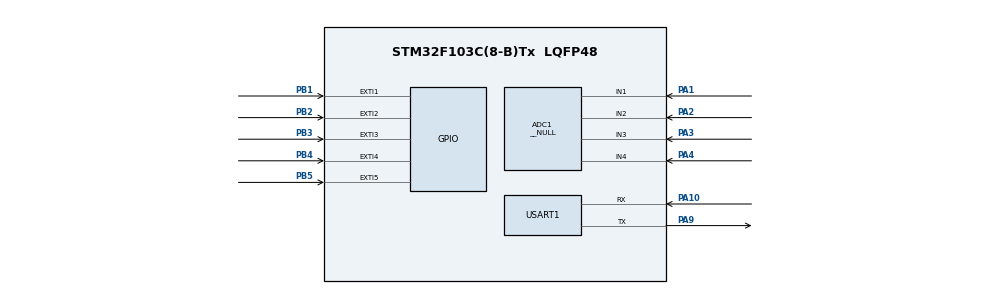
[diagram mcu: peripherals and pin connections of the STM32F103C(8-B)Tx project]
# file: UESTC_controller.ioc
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ADC1.Channel-0\#ChannelRegularConversion=ADC_CHANNEL_1
ADC1.Channel-1\#ChannelRegularConversion=ADC_CHANNEL_2
ADC1.Channel-4\#ChannelRegularConversion=ADC_CHANNEL_3
ADC1.Channel-5\#ChannelRegularConversion=ADC_CHANNEL_4
ADC1.ExternalTrigConv=ADC_EXTERNALTRIGCONV_T3_TRGO
ADC1.Mode=__NULL
ADC1.NbrOfConversion=4
ADC1.NbrOfConversionFlag=1
ADC1.Rank-0\#ChannelRegularConversion=1
ADC1.Rank-1\#ChannelRegularConversion=2
ADC1.Rank-4\#ChannelRegularConversion=3
ADC1.Rank-5\#ChannelRegularConversion=4
ADC1.SamplingTime-0\#ChannelRegularConversion=ADC_SAMPLETIME_71CYCLES_5
ADC1.SamplingTime-1\#ChannelRegularConversion=ADC_SAMPLETIME_71CYCLES_5
ADC1.SamplingTime-4\#ChannelRegularConversion=ADC_SAMPLETIME_71CYCLES_5
ADC1.SamplingTime-5\#ChannelRegularConversion=ADC_SAMPLETIME_71CYCLES_5
ADC1.master=1
Dma.ADC1.0.Direction=DMA_PERIPH_TO_MEMORY
Dma.ADC1.0.Instance=DMA1_Channel1
Dma.ADC1.0.MemDataAlignment=DMA_MDATAALIGN_HALFWORD
Dma.ADC1.0.MemInc=DMA_MINC_ENABLE
Dma.ADC1.0.Mode=DMA_CIRCULAR
Dma.ADC1.0.PeriphDataAlignment=DMA_PDATAALIGN_HALFWORD
Dma.ADC1.0.PeriphInc=DMA_PINC_DISABLE
Dma.ADC1.0.Priority=DMA_PRIORITY_LOW
Dma.Request0=ADC1
Mcu.Family=STM32F1
Mcu.Name=STM32F103C(8-B)Tx
Mcu.Package=LQFP48
NVIC.ADC1_2_IRQn=true\:3\:0\:true\:false\:true\:true\:true\:true
NVIC.DMA1_Channel1_IRQn=true\:0\:0\:false\:false\:true\:false\:true\:true
NVIC.EXTI1_IRQn=true\:2\:0\:true\:false\:true\:true\:true\:true
NVIC.EXTI2_IRQn=true\:2\:0\:true\:false\:true\:true\:true\:true
NVIC.EXTI3_IRQn=true\:2\:0\:true\:false\:true\:true\:true\:true
NVIC.EXTI4_IRQn=true\:2\:0\:true\:false\:true\:true\:true\:true
NVIC.EXTI9_5_IRQn=true\:2\:0\:true\:false\:true\:true\:true\:true
NVIC.PriorityGroup=NVIC_PRIORITYGROUP_4
NVIC.TIM4_IRQn=true\:1\:0\:true\:false\:true\:true\:true\:true
NVIC.USART1_IRQn=true\:0\:0\:false\:false\:true\:true\:true\:true
PA1.Signal=ADCx_IN1
PA10.Mode=Asynchronous
PA10.Signal=USART1_RX
PA13.Mode=Serial_Wire
PA13.Signal=SYS_JTMS-SWDIO
PA14.Mode=Serial_Wire
PA14.Signal=SYS_JTCK-SWCLK
PA2.Signal=ADCx_IN2
PA3.Signal=ADCx_IN3
PA4.Signal=ADCx_IN4
PA9.Mode=Asynchronous
PA9.Signal=USART1_TX
PB1.GPIO_ModeDefaultEXTI=GPIO_MODE_IT_FALLING
PB1.Signal=GPXTI1
PB2.GPIO_ModeDefaultEXTI=GPIO_MODE_IT_FALLING
PB2.Signal=GPXTI2
PB3.GPIO_ModeDefaultEXTI=GPIO_MODE_IT_FALLING
PB3.Signal=GPXTI3
PB4.GPIO_ModeDefaultEXTI=GPIO_MODE_IT_FALLING
PB4.Signal=GPXTI4
PB5.GPIO_ModeDefaultEXTI=GPIO_MODE_IT_FALLING
PB5.Signal=GPXTI5
PD0-OSC_IN.Mode=HSE-External-Oscillator
PD0-OSC_IN.Signal=RCC_OSC_IN
PD1-OSC_OUT.Mode=HSE-External-Oscillator
PD1-OSC_OUT.Signal=RCC_OSC_OUT
ProjectManager.HeapSize=0x200
ProjectManager.StackSize=0x400
ProjectManager.TargetToolchain=STM32CubeIDE
RCC.APB1Freq_Value=8000000
RCC.APB2Freq_Value=8000000
RCC.SYSCLKSource=RCC_SYSCLKSOURCE_HSE
RCC.USBFreq_Value=8000000
SH.ADCx_IN1.0=ADC1_IN1,IN1
SH.ADCx_IN2.0=ADC1_IN2,IN2
SH.ADCx_IN3.0=ADC1_IN3,IN3
SH.ADCx_IN4.0=ADC1_IN4,IN4
TIM3.Period=1000-1
TIM3.Prescaler=800-1
TIM3.TIM_MasterOutputTrigger=TIM_TRGO_UPDATE
TIM4.AutoReloadPreload=TIM_AUTORELOAD_PRELOAD_ENABLE
TIM4.Period=1000-1
TIM4.Prescaler=4000-1
TIM4.TIM_MasterOutputTrigger=TIM_TRGO_RESET
USART1.VirtualMode=VM_ASYNC
VP_TIM3_VS_ClockSourceINT.Mode=Internal
VP_TIM4_VS_ClockSourceINT.Mode=Internal
board=custom

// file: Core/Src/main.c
/* USER CODE BEGIN Header */
/**
  ******************************************************************************
  * @file           : main.c
  * @brief          : Main program body
  ******************************************************************************
  * @attention
  *
  * Copyright (c) 2025 STMicroelectronics.
  * All rights reserved.
  *
  * This software is licensed under terms that can be found in the LICENSE file
  * in the root directory of this software component.
  * If no LICENSE file comes with this software, it is provided AS-IS.
  *
  ******************************************************************************
  */
/* USER CODE END Header */
#include "main.h"

ADC_HandleTypeDef hadc1;
DMA_HandleTypeDef hdma_adc1;

TIM_HandleTypeDef htim3;
TIM_HandleTypeDef htim4;

UART_HandleTypeDef huart1;

/* USER CODE BEGIN PV */

uint8_t rx_it_buffer;
/* USER CODE END PV */

void SystemClock_Config(void);
static void MX_GPIO_Init(void);
static void MX_DMA_Init(void);
static void MX_ADC1_Init(void);
static void MX_TIM3_Init(void);
static void MX_USART1_UART_Init(void);
static void MX_TIM4_Init(void);

int main(void)
{

  /* MCU Configuration--------------------------------------------------------*/

  /* Reset of all peripherals, Initializes the Flash interface and the Systick. */
  HAL_Init();

  /* Configure the system clock */
  SystemClock_Config();

  /* Initialize all configured peripherals */
  MX_GPIO_Init();
  MX_DMA_Init();
  MX_ADC1_Init();
  MX_TIM3_Init();
  MX_USART1_UART_Init();
  MX_TIM4_Init();
  /* USER CODE BEGIN 2 */

  // CALIBRATION DES ADCs
  HAL_ADCEx_Calibration_Start(&hadc1); // Calibrer ADC1 => CF drivers hal_adc
  HAL_ADC_Start_DMA(&hadc1, (uint32_t*) adcData, ADC_NUM_CONVERSIONS); // configurer DMA
  HAL_TIM_Base_Start(&htim3); // demarer timer 3

  //Config de l'USART1 pour le BLE RX
  HAL_UART_Receive_IT(&huart_BLE, &rx_it_buffer, 1);
  // chaque caractère va être écrit dans le buff et une interruption sera envoyée à HAL_UART_RxCpltCallback

  //Config du module BLE
  config_BLE_manette();

  //Timer pour envoyer la trame
  HAL_TIM_Base_Start_IT(&htim4);

  /* USER CODE END 2 */

  /* Infinite loop */
  /* USER CODE BEGIN WHILE */
  while (1)
  {
	if(flags.BLE_HAS_BEEN_DISCONNECTED){
	    BLE.EnterATMode();
	    wait_until_flag(&flags.OK,BLE_TIMEOUT_MS);
		BLE.SetAutoConnect(BLE_MAC_SERVEUR);  // MAC du drone
		wait_until_flag(&flags.OK,BLE_TIMEOUT_MS);
	    BLE.Reset();  // relance tentative
	    wait_until_flag(&flags.RSTING,BLE_TIMEOUT_MS);
		flags.BLE_HAS_BEEN_DISCONNECTED = false;
	}
	send_trame_if_necessary();

    /* USER CODE END WHILE */

  }
}

void SystemClock_Config(void)
{
  RCC_OscInitTypeDef RCC_OscInitStruct = {0};
  RCC_ClkInitTypeDef RCC_ClkInitStruct = {0};
  RCC_PeriphCLKInitTypeDef PeriphClkInit = {0};

  /** Initializes the RCC Oscillators according to the specified parameters
  * in the RCC_OscInitTypeDef structure.
  */
  RCC_OscInitStruct.OscillatorType = RCC_OSCILLATORTYPE_HSE;
  RCC_OscInitStruct.HSEState = RCC_HSE_ON;
  RCC_OscInitStruct.PLL.PLLState = RCC_PLL_NONE;
  if (HAL_RCC_OscConfig(&RCC_OscInitStruct) != HAL_OK)
  {
    Error_Handler();
  }

  /** Initializes the CPU, AHB and APB buses clocks
  */
  RCC_ClkInitStruct.ClockType = RCC_CLOCKTYPE_HCLK|RCC_CLOCKTYPE_SYSCLK
                              |RCC_CLOCKTYPE_PCLK1|RCC_CLOCKTYPE_PCLK2;
  RCC_ClkInitStruct.SYSCLKSource = RCC_SYSCLKSOURCE_HSE;
  RCC_ClkInitStruct.AHBCLKDivider = RCC_SYSCLK_DIV1;
  RCC_ClkInitStruct.APB1CLKDivider = RCC_HCLK_DIV1;
  RCC_ClkInitStruct.APB2CLKDivider = RCC_HCLK_DIV1;

  if (HAL_RCC_ClockConfig(&RCC_ClkInitStruct, FLASH_LATENCY_0) != HAL_OK)
  {
    Error_Handler();
  }
  PeriphClkInit.PeriphClockSelection = RCC_PERIPHCLK_ADC;
  PeriphClkInit.AdcClockSelection = RCC_ADCPCLK2_DIV2;
  if (HAL_RCCEx_PeriphCLKConfig(&PeriphClkInit) != HAL_OK)
  {
    Error_Handler();
  }
}

static void MX_ADC1_Init(void)
{

  ADC_ChannelConfTypeDef sConfig = {0};

  /** Common config
  */
  hadc1.Instance = ADC1;
  hadc1.Init.ScanConvMode = ADC_SCAN_ENABLE;
  hadc1.Init.ContinuousConvMode = DISABLE;
  hadc1.Init.DiscontinuousConvMode = DISABLE;
  hadc1.Init.ExternalTrigConv = ADC_EXTERNALTRIGCONV_T3_TRGO;
  hadc1.Init.DataAlign = ADC_DATAALIGN_RIGHT;
  hadc1.Init.NbrOfConversion = 4;
  if (HAL_ADC_Init(&hadc1) != HAL_OK)
  {
    Error_Handler();
  }

  /** Configure Regular Channel
  */
  sConfig.Channel = ADC_CHANNEL_1;
  sConfig.Rank = ADC_REGULAR_RANK_1;
  sConfig.SamplingTime = ADC_SAMPLETIME_71CYCLES_5;
  if (HAL_ADC_ConfigChannel(&hadc1, &sConfig) != HAL_OK)
  {
    Error_Handler();
  }

  /** Configure Regular Channel
  */
  sConfig.Channel = ADC_CHANNEL_2;
  sConfig.Rank = ADC_REGULAR_RANK_2;
  if (HAL_ADC_ConfigChannel(&hadc1, &sConfig) != HAL_OK)
  {
    Error_Handler();
  }

  /** Configure Regular Channel
  */
  sConfig.Channel = ADC_CHANNEL_3;
  sConfig.Rank = ADC_REGULAR_RANK_3;
  if (HAL_ADC_ConfigChannel(&hadc1, &sConfig) != HAL_OK)
  {
    Error_Handler();
  }

  /** Configure Regular Channel
  */
  sConfig.Channel = ADC_CHANNEL_4;
  sConfig.Rank = ADC_REGULAR_RANK_4;
  if (HAL_ADC_ConfigChannel(&hadc1, &sConfig) != HAL_OK)
  {
    Error_Handler();
  }

}

static void MX_TIM3_Init(void)
{

  TIM_ClockConfigTypeDef sClockSourceConfig = {0};
  TIM_MasterConfigTypeDef sMasterConfig = {0};

  htim3.Instance = TIM3;
  htim3.Init.Prescaler = 800-1;
  htim3.Init.CounterMode = TIM_COUNTERMODE_UP;
  htim3.Init.Period = 1000-1;
  htim3.Init.ClockDivision = TIM_CLOCKDIVISION_DIV1;
  htim3.Init.AutoReloadPreload = TIM_AUTORELOAD_PRELOAD_DISABLE;
  if (HAL_TIM_Base_Init(&htim3) != HAL_OK)
  {
    Error_Handler();
  }
  sClockSourceConfig.ClockSource = TIM_CLOCKSOURCE_INTERNAL;
  if (HAL_TIM_ConfigClockSource(&htim3, &sClockSourceConfig) != HAL_OK)
  {
    Error_Handler();
  }
  sMasterConfig.MasterOutputTrigger = TIM_TRGO_UPDATE;
  sMasterConfig.MasterSlaveMode = TIM_MASTERSLAVEMODE_DISABLE;
  if (HAL_TIMEx_MasterConfigSynchronization(&htim3, &sMasterConfig) != HAL_OK)
  {
    Error_Handler();
  }

}

static void MX_TIM4_Init(void)
{

  TIM_ClockConfigTypeDef sClockSourceConfig = {0};
  TIM_MasterConfigTypeDef sMasterConfig = {0};

  htim4.Instance = TIM4;
  htim4.Init.Prescaler = 4000-1;
  htim4.Init.CounterMode = TIM_COUNTERMODE_UP;
  htim4.Init.Period = 1000-1;
  htim4.Init.ClockDivision = TIM_CLOCKDIVISION_DIV1;
  htim4.Init.AutoReloadPreload = TIM_AUTORELOAD_PRELOAD_ENABLE;
  if (HAL_TIM_Base_Init(&htim4) != HAL_OK)
  {
    Error_Handler();
  }
  sClockSourceConfig.ClockSource = TIM_CLOCKSOURCE_INTERNAL;
  if (HAL_TIM_ConfigClockSource(&htim4, &sClockSourceConfig) != HAL_OK)
  {
    Error_Handler();
  }
  sMasterConfig.MasterOutputTrigger = TIM_TRGO_RESET;
  sMasterConfig.MasterSlaveMode = TIM_MASTERSLAVEMODE_DISABLE;
  if (HAL_TIMEx_MasterConfigSynchronization(&htim4, &sMasterConfig) != HAL_OK)
  {
    Error_Handler();
  }

}

static void MX_USART1_UART_Init(void)
{

  huart1.Instance = USART1;
  huart1.Init.BaudRate = 115200;
  huart1.Init.WordLength = UART_WORDLENGTH_8B;
  huart1.Init.StopBits = UART_STOPBITS_1;
  huart1.Init.Parity = UART_PARITY_NONE;
  huart1.Init.Mode = UART_MODE_TX_RX;
  huart1.Init.HwFlowCtl = UART_HWCONTROL_NONE;
  huart1.Init.OverSampling = UART_OVERSAMPLING_16;
  if (HAL_UART_Init(&huart1) != HAL_OK)
  {
    Error_Handler();
  }

}

static void MX_DMA_Init(void)
{

  /* DMA controller clock enable */
  __HAL_RCC_DMA1_CLK_ENABLE();

  /* DMA interrupt init */
  /* DMA1_Channel1_IRQn interrupt configuration */
  HAL_NVIC_SetPriority(DMA1_Channel1_IRQn, 0, 0);
  HAL_NVIC_EnableIRQ(DMA1_Channel1_IRQn);

}

static void MX_GPIO_Init(void)
{
  GPIO_InitTypeDef GPIO_InitStruct = {0};

  /* GPIO Ports Clock Enable */
  __HAL_RCC_GPIOD_CLK_ENABLE();
  __HAL_RCC_GPIOA_CLK_ENABLE();
  __HAL_RCC_GPIOB_CLK_ENABLE();

  /*Configure GPIO pins : PB1 PB2 PB3 PB4
                           PB5 */
  GPIO_InitStruct.Pin = GPIO_PIN_1|GPIO_PIN_2|GPIO_PIN_3|GPIO_PIN_4
                          |GPIO_PIN_5;
  GPIO_InitStruct.Mode = GPIO_MODE_IT_FALLING;
  GPIO_InitStruct.Pull = GPIO_NOPULL;
  HAL_GPIO_Init(GPIOB, &GPIO_InitStruct);

  /* EXTI interrupt init*/
  HAL_NVIC_SetPriority(EXTI1_IRQn, 2, 0);
  HAL_NVIC_EnableIRQ(EXTI1_IRQn);

  HAL_NVIC_SetPriority(EXTI2_IRQn, 2, 0);
  HAL_NVIC_EnableIRQ(EXTI2_IRQn);

  HAL_NVIC_SetPriority(EXTI3_IRQn, 2, 0);
  HAL_NVIC_EnableIRQ(EXTI3_IRQn);

  HAL_NVIC_SetPriority(EXTI4_IRQn, 2, 0);
  HAL_NVIC_EnableIRQ(EXTI4_IRQn);

  HAL_NVIC_SetPriority(EXTI9_5_IRQn, 2, 0);
  HAL_NVIC_EnableIRQ(EXTI9_5_IRQn);

}

/* USER CODE BEGIN 4 */

////////////////////////////////////////////////////////////////// CODE RX

void HAL_UART_RxCpltCallback(UART_HandleTypeDef *huart) {
	static int receive_index = 0;
	static bool debut_de_trame = false;
	static bool fin_de_trame = false;
    if (huart->Instance == USART1) {
        // Copier le caractère dans le buffer
        if (receive_index < sizeof(receive_buffer) - 1) {
        	if(debut_de_trame){						//debug
            receive_buffer[receive_index++] = (char)rx_it_buffer;
        	}
            if((char)rx_it_buffer == '\n'){
            	if (!debut_de_trame){
            		debut_de_trame = true;
            	}
            	else{
            		fin_de_trame = true;
            	}

            }
        }
        // Vérifier si la trame est terminée
        if (fin_de_trame) {
        	process_trame_rx(receive_buffer);  // traite la trame
        	memset(receive_buffer, 0, sizeof(receive_buffer));
            receive_index = 0;              // réinitialise l'index
            debut_de_trame = false;
            fin_de_trame = false;
            rx_it_buffer = 0;
        }
        // Remet à écouter un octet
        HAL_UART_Receive_IT(&huart_BLE, &rx_it_buffer, 1);
    }
}

////////////////////////////////////////////////////////////////// CODE RX

/* USER CODE END 4 */

void Error_Handler(void)
{
  __disable_irq();
  while (1)
  {
  }
}
